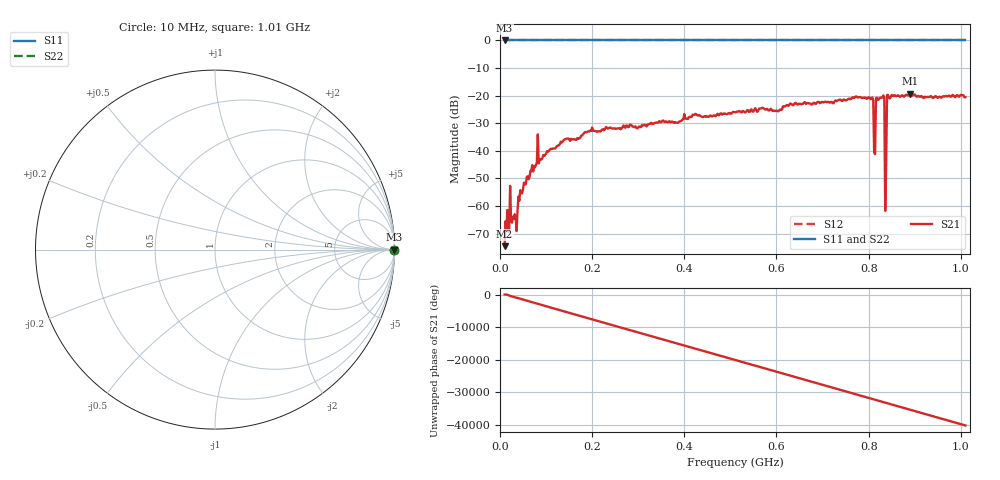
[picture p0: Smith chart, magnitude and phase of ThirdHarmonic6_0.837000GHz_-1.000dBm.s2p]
! 8/16/2025 3:46:05 AM
! C:\ANRITSUVNA\TEMP\TEMP.S2P
! CHANNEL.1
! TR.MEASUREMENT
! RAW.DATA
! RF.CORRECTION.OFF
! AVERAGING.OFF
! IF.BANDWIDTH: 5KHZ
! SWEEPTYPE:  FREQ.SWEEP(Linear)
! Reference Plane Port Info
! PORT:  PORT1  PORT2
! DISTANCE:  0  m  0  m
! TIME:  0  s  0  s
! PHASE.OFFSET:  0  deg.  0  deg.
! LOSS:  0  dB  0  dB
! REF.LOSS:  0  dB  0  dB
! REF.FREQ:  0  Hz  0  Hz
! Power Info
! POWER:  -20  dBm  -20  dBm
! EFF.POWER:  -20  dBm  -20  dBm
! SOURCE.ATTEN:  0  dB  0  dB
! TEST.ATTEN:  0  dB  0  dB
# GHZ S RI R 50.0
! FREQ.GHZ  S11RE  S11IM  S21RE  S21IM  S12RE  S12IM  S22RE  S22IM
!; PortSelection: Port_12
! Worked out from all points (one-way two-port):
!   501 points, 10 MHz to 1.01 GHz, reference 50 ohm
!   highest |S21| = -19.29 dB at 890 MHz (marker M1); lowest = -74.5 dB at 10 MHz (marker M2)
!   lowest |S11| = 0.0 dB at 10 MHz (marker M3)
!   |S11| at or under -10 dB: nowhere
!   |S22| runs from 0.0 to 0.0 dB; largest |S21 - S12| = 1.1
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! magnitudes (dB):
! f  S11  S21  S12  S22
! 10 MHz  0.0  -74.5  0.0  0.0
! 18 MHz  0.0  -69.4  0.0  0.0
! 26 MHz  0.0  -66.0  0.0  0.0
! 34 MHz  0.0  -64.2  0.0  0.0
! 44 MHz  0.0  -54.2  0.0  0.0
! 78 MHz  0.0  -45.1  0.0  0.0
! 178 MHz  0.0  -34.4  0.0  0.0
! 344 MHz  0.0  -29.7  0.0  0.0
! 510 MHz  0.0  -26.0  0.0  0.0
! 678 MHz  0.0  -23.1  0.0  0.0
! 804 MHz  0.0  -21.3  0.0  0.0
! 806 MHz  0.0  -21.1  0.0  0.0
! 810 MHz  0.0  -21.7  0.0  0.0
! 814 MHz  0.0  -41.2  0.0  0.0
! 816 MHz  0.0  -20.9  0.0  0.0
! 820 MHz  0.0  -21.6  0.0  0.0
! 830 MHz  0.0  -20.6  0.0  0.0
! 834 MHz  0.0  -20.8  0.0  0.0
! 840 MHz  0.0  -19.7  0.0  0.0
! 844 MHz  0.0  -20.7  0.0  0.0
! 890 MHz  0.0  -19.3  0.0  0.0
! 1.01 GHz  0.0  -20.6  0.0  0.0
